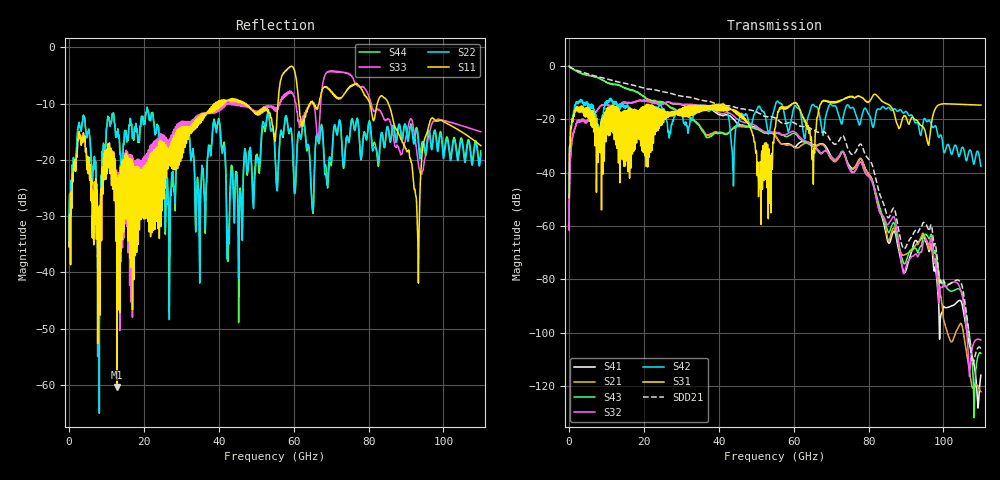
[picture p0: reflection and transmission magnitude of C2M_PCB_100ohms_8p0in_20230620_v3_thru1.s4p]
! Info: Touchstone file created by Circ.  Input file=C2M_PCB_100ohms_8p0in_20230620_v3.circ
# Hz S RI R 50
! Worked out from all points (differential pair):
!   11000 points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, 10 MHz to 110 GHz, reference 50 ohm
!   strongest paths, dB at 10 MHz, 27.51 GHz, 55.01 GHz, 82.51 GHz, 110 GHz:
!     S31: -49.3, -18.6, -23.4, -11.6, -14.7
!     S42: -49.2, -21.6, -15.1, -16.1, -37.6
!     S32: -61.4, -14.0, -24.8, -52.6, -102.7
!     S43: -0.1, -16.0, -25.2, -50.7, -107.7
!     S21: -0.1, -15.7, -25.9, -52.5, -122.1
!     S41: -61.4, -14.2, -26.0, -51.5, -115.9
!   taken as a pair (ports 3,1 in; 4,2 out), SDD21 dB: -0.1, -10.5, -19.5, -45.8, -106.1
!   lowest |S11| = -60.3 dB at 12.86 GHz (marker M1), VSWR 1.00, Z = 50 + j0.0958 ohm
!   |S11| at or under -10 dB: start of sweep to 38.77 GHz; 47.25 GHz to 55.81 GHz (8.553 GHz wide, 16.6 % of centre); 85.27 GHz to end of sweep (the widest 3 of 17)
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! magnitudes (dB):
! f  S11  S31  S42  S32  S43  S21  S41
! 10 MHz  -35.5  -49.3  -49.2  -61.4  -0.1  -0.1  -61.4
! 2.08 GHz  -19.5  -16.7  -14.2  -21.3  -2.0  -2.0  -21.3
! 12.86 GHz  -60.3  -27.2  -15.2  -15.1  -7.1  -7.1  -15.1
! 50.76 GHz  -11.7  -41.4  -15.2  -23.4  -24.0  -23.7  -24.0
! 77.92 GHz  -7.2  -11.7  -20.4  -36.0  -36.1  -34.7  -34.8
! 89.48 GHz  -17.4  -18.6  -17.5  -77.8  -74.1  -70.9  -77.2
! 110 GHz  -17.5  -14.7  -37.6  -102.7  -107.7  -122.1  -115.9
